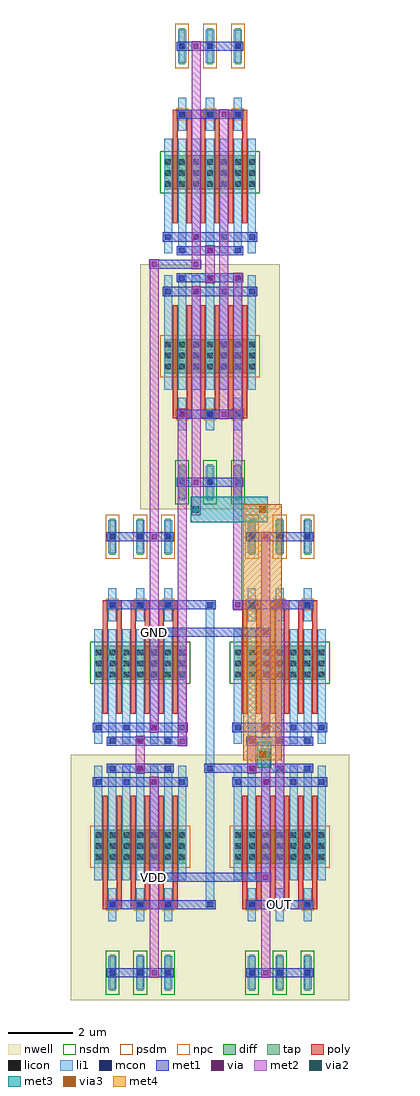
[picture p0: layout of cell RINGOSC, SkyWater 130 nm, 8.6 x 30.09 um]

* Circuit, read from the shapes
.subckt RINGOSC GND OUT VDD
XM1 n1 n2 GND GND sky130_fd_pr__nfet_01v8 w=1.05 l=0.15 m=6
XM2 OUT n1 GND GND sky130_fd_pr__nfet_01v8 w=1.05 l=0.15 m=6
XM3 n2 OUT GND GND sky130_fd_pr__nfet_01v8 w=1.05 l=0.15 m=6
XM4 n1 n2 VDD VDD sky130_fd_pr__pfet_01v8 w=1.05 l=0.15 m=6
XM5 OUT n1 VDD VDD sky130_fd_pr__pfet_01v8 w=1.05 l=0.15 m=6
XM6 n2 OUT VDD VDD sky130_fd_pr__pfet_01v8 w=1.05 l=0.15 m=6
.ends

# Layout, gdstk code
import gdstk
lib = gdstk.Library(unit=1e-6, precision=1e-09)
def R(c, l, rs):  # rectangles x0, y0, x1, y1
    for r in rs: c.add(gdstk.rectangle(r[:2], r[2:], *l))
def A(c, l, x, y, w, h, nx, ny, dx, dy):  # array of equal rectangles
    R(c, l, [(x+i*dx, y+j*dy, x+i*dx+w, y+j*dy+h) for i in range(nx) for j in range(ny)])
nwell = (64, 20)
diff = (65, 20)
tap = (65, 44)
poly = (66, 20)
licon = (66, 44)
li1 = (67, 20)
mcon = (67, 44)
met1 = (68, 20)
via = (68, 44)
met2 = (69, 20)
via2 = (69, 44)
met3 = (70, 20)
via3 = (70, 44)
met4 = (71, 20)
nsdm = (93, 44)
psdm = (94, 20)
npc = (95, 20)

ringosc = lib.new_cell('RINGOSC')
R(ringosc, nwell, [(0,0,8.6,7.56), (2.15,15.12,6.45,22.68)])
R(ringosc, diff, [(0.735,4.2,3.565,5.25), (5.035,4.2,7.865,5.25), (0.735,9.87,3.565,10.92), (5.035,9.87,7.865,10.92), (2.885,19.32,5.715,20.37), (2.885,24.99,5.715,26.04)])
A(ringosc, tap, 1.205, 0.28, 0.17, 1.12, 3, 2, 0.86, 13.44)
A(ringosc, tap, 5.505, 0.28, 0.17, 1.12, 3, 2, 0.86, 13.44)
A(ringosc, tap, 3.355, 15.4, 0.17, 1.12, 3, 2, 0.86, 13.44)
A(ringosc, poly, 1, 2.805, 0.58, 0.27, 3, 2, 0.86, 9.24)
A(ringosc, poly, 5.3, 2.805, 0.58, 0.27, 3, 2, 0.86, 9.24)
A(ringosc, poly, 1, 3.075, 0.15, 3.225, 6, 2, 0.43, 5.745)
A(ringosc, poly, 5.3, 3.075, 0.15, 3.225, 6, 2, 0.43, 5.745)
A(ringosc, poly, 3.15, 17.925, 0.58, 0.27, 3, 2, 0.86, 9.24)
A(ringosc, poly, 3.15, 18.195, 0.15, 3.225, 6, 2, 0.43, 5.745)
A(ringosc, licon, 1.205, 0.755, 0.17, 0.17, 3, 2, 0.86, 2.1)
A(ringosc, licon, 5.505, 0.755, 0.17, 0.17, 3, 2, 0.86, 2.1)
A(ringosc, licon, 0.775, 4.32, 0.17, 0.17, 7, 3, 0.43, 0.34)
A(ringosc, licon, 5.075, 4.32, 0.17, 0.17, 7, 3, 0.43, 0.34)
A(ringosc, licon, 0.775, 9.95, 0.17, 0.17, 7, 3, 0.43, 0.34)
A(ringosc, licon, 5.075, 9.95, 0.17, 0.17, 7, 3, 0.43, 0.34)
A(ringosc, licon, 1.205, 12.095, 0.17, 0.17, 3, 2, 0.86, 2.1)
A(ringosc, licon, 5.505, 12.095, 0.17, 0.17, 3, 2, 0.86, 2.1)
A(ringosc, licon, 3.355, 15.875, 0.17, 0.17, 3, 2, 0.86, 2.1)
A(ringosc, licon, 2.925, 19.44, 0.17, 0.17, 7, 3, 0.43, 0.34)
A(ringosc, licon, 2.925, 25.07, 0.17, 0.17, 7, 3, 0.43, 0.34)
A(ringosc, licon, 3.355, 27.215, 0.17, 0.17, 3, 2, 0.86, 2.1)
A(ringosc, li1, 1.165, 0.335, 0.25, 1.01, 3, 2, 0.86, 2.1)
A(ringosc, li1, 5.465, 0.335, 0.25, 1.01, 3, 2, 0.86, 2.1)
A(ringosc, li1, 0.735, 3.695, 0.25, 3.53, 7, 2, 0.43, 4.2)
A(ringosc, li1, 5.035, 3.695, 0.25, 3.53, 7, 2, 0.43, 4.2)
A(ringosc, li1, 1.165, 11.675, 0.25, 1.01, 3, 2, 0.86, 2.1)
A(ringosc, li1, 5.465, 11.675, 0.25, 1.01, 3, 2, 0.86, 2.1)
A(ringosc, li1, 3.315, 15.455, 0.25, 1.01, 3, 2, 0.86, 2.1)
A(ringosc, li1, 2.885, 18.815, 0.25, 3.53, 7, 2, 0.43, 4.2)
A(ringosc, li1, 3.315, 26.795, 0.25, 1.01, 3, 2, 0.86, 2.1)
R(ringosc, li1, [(4.175,2.855,4.425,12.265)])
A(ringosc, mcon, 1.205, 0.755, 0.17, 0.17, 3, 2, 0.86, 2.1)
A(ringosc, mcon, 5.505, 0.755, 0.17, 0.17, 3, 2, 0.86, 2.1)
A(ringosc, mcon, 0.775, 6.635, 0.17, 0.17, 4, 2, 0.86, 1.68)
A(ringosc, mcon, 5.075, 6.635, 0.17, 0.17, 4, 2, 0.86, 1.68)
A(ringosc, mcon, 1.205, 7.055, 0.17, 0.17, 3, 2, 0.86, 0.84)
A(ringosc, mcon, 5.505, 7.055, 0.17, 0.17, 3, 2, 0.86, 0.84)
A(ringosc, mcon, 1.205, 12.095, 0.17, 0.17, 3, 2, 0.86, 2.1)
A(ringosc, mcon, 5.505, 12.095, 0.17, 0.17, 3, 2, 0.86, 2.1)
A(ringosc, mcon, 3.355, 15.875, 0.17, 0.17, 3, 2, 0.86, 2.1)
A(ringosc, mcon, 2.925, 21.755, 0.17, 0.17, 4, 2, 0.86, 1.68)
A(ringosc, mcon, 3.355, 22.175, 0.17, 0.17, 3, 2, 0.86, 0.84)
A(ringosc, mcon, 3.355, 27.215, 0.17, 0.17, 3, 2, 0.86, 2.1)
R(ringosc, mcon, [(4.215,2.855,4.385,3.025), (4.215,7.055,4.385,7.225), (4.215,12.095,4.385,12.265)])
R(ringosc, met1, [(1.12,0.7,3.18,0.98), (5.42,0.7,7.48,0.98), (1.12,2.8,4.47,3.08), (5.42,2.8,7.48,3.08), (2.42,3.64,6.18,3.92), (0.69,6.58,3.61,6.86), (4.99,6.58,7.91,6.86), (1.12,7,3.18,7.28), (4.13,7,7.48,7.28), (1.12,7.84,3.6,8.12), (5.42,7.84,7.48,8.12), (0.69,8.26,3.61,8.54), (4.99,8.26,7.91,8.54), (2.42,11.2,6.18,11.48), (1.12,12.04,4.47,12.32), (5,12.04,7.48,12.32), (1.12,14.14,3.18,14.42), (5.42,14.14,7.48,14.42), (3.27,15.82,5.33,16.1), (3.27,17.92,5.33,18.2), (2.84,21.7,5.76,21.98), (3.27,22.12,5.33,22.4), (2.42,22.54,4.03,22.82), (3.27,22.96,5.33,23.24), (2.84,23.38,5.76,23.66), (3.27,27.16,5.33,27.44), (3.27,29.26,5.33,29.54)])
A(ringosc, via, 2.505, 0.765, 0.15, 0.15, 1, 3, 0, 2.94)
A(ringosc, via, 5.945, 0.765, 0.15, 0.15, 1, 3, 0, 2.94)
A(ringosc, via, 2.505, 8.325, 0.15, 0.15, 1, 3, 0, 2.94)
A(ringosc, via, 5.945, 8.325, 0.15, 0.15, 1, 3, 0, 2.94)
A(ringosc, via, 3.795, 21.765, 0.15, 0.15, 1, 3, 0, 0.84)
R(ringosc, via, [(6.375,2.865,6.525,3.015), (2.075,7.065,2.225,7.215), (5.515,7.065,5.665,7.215), (2.075,7.905,2.225,8.055), (3.365,7.905,3.515,8.055), (5.515,7.905,5.665,8.055), (5.085,12.105,5.235,12.255), (6.375,12.105,6.525,12.255), (3.795,15.885,3.945,16.035), (3.365,17.985,3.515,18.135), (4.655,17.985,4.805,18.135), (4.225,22.185,4.375,22.335), (5.085,22.185,5.235,22.335), (2.505,22.605,2.655,22.755), (4.225,23.025,4.375,23.175), (4.655,27.225,4.805,27.375), (3.795,29.325,3.945,29.475)])
R(ringosc, met2, [(2.44,0.68,2.72,6.88), (5.88,0.68,6.16,7.745), (6.31,2.78,6.59,12.34), (2.01,6.98,2.29,8.14), (5.45,6.98,5.73,8.14), (3.3,7.82,3.58,18.22), (2.44,8.24,2.72,22.84), (5.88,8.24,6.16,14.44), (5.02,12.02,5.3,22.42), (3.73,14.935,4.01,22), (4.59,17.9,4.87,27.46), (4.16,22.1,4.44,23.26), (3.73,22.52,4.01,29.56)])
R(ringosc, via2, [(5.92,7.46,6.12,7.66), (3.77,15.02,3.97,15.22)])
R(ringosc, met3, [(5.755,7.16,6.185,7.96), (3.705,14.72,6.085,15.52)])
R(ringosc, via3, [(5.82,7.46,6.02,7.66), (5.82,15.02,6.02,15.22)])
R(ringosc, met4, [(5.33,7.395,6.51,15.285)])
A(ringosc, nsdm, 1.08, 0.155, 0.42, 1.37, 3, 1, 0.86, 0)
A(ringosc, nsdm, 5.38, 0.155, 0.42, 1.37, 3, 1, 0.86, 0)
A(ringosc, nsdm, 3.23, 15.275, 0.42, 1.37, 3, 1, 0.86, 0)
R(ringosc, nsdm, [(0.61,9.745,3.69,11.045), (4.91,9.745,7.99,11.045), (2.76,24.865,5.84,26.165)])
A(ringosc, psdm, 1.08, 13.595, 0.42, 1.37, 3, 1, 0.86, 0)
A(ringosc, psdm, 5.38, 13.595, 0.42, 1.37, 3, 1, 0.86, 0)
A(ringosc, psdm, 3.23, 28.715, 0.42, 1.37, 3, 1, 0.86, 0)
R(ringosc, psdm, [(0.61,4.075,3.69,5.375), (4.91,4.075,7.99,5.375), (2.76,19.195,5.84,20.495)])
A(ringosc, npc, 1.105, 2.755, 0.37, 0.37, 3, 2, 0.86, 9.24)
A(ringosc, npc, 5.405, 2.755, 0.37, 0.37, 3, 2, 0.86, 9.24)
A(ringosc, npc, 3.255, 17.875, 0.37, 0.37, 3, 2, 0.86, 9.24)
ringosc.add(gdstk.Label('VDD', (2.57,3.78), layer=69, texttype=5))
ringosc.add(gdstk.Label('OUT', (6.45,2.95), layer=69, texttype=5))
ringosc.add(gdstk.Label('GND', (2.58,11.33), layer=69, texttype=5))

lib.write_gds('RINGOSC.gds')
